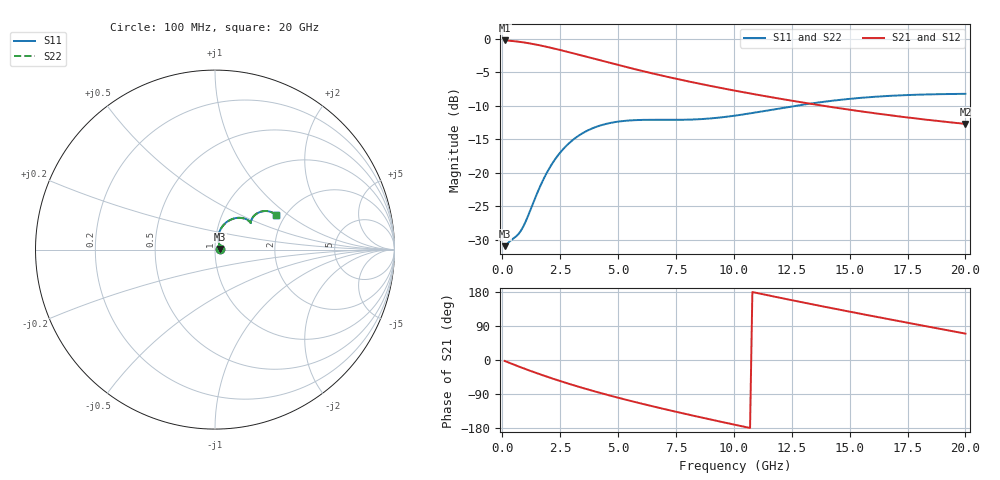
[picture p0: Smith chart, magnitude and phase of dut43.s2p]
! Touchstone file exported from HFSS 2024.1.0
!  File:  C:/UserFiles/LocalFiles/RDL_TSV_Batchsim/temp_RDL_TSV_43_1779405067.aedt
!  Generated:  07:27:13 AM May 22, 2026
!  Design:  RDL_TSV
!  Project:  temp_RDL_TSV_43_1779405067
!  Setup:  Setup1
!  Solution:  Sweep
! Variables:
!  dtsv = 12.88um
!  hbump = 3um
!  htsv = 74.79um
!  ldown = 583.4um
!  lrdl = 623.51um
!  p = 40
!  p1 = 46.31um
!  rhole = 10um
!  subl = 4244.24um
!  t = 450um
!  tdown = 3.32um
!  trdl = 2.85um
!  viad = 10um
!  wdown = 22.46um
!  wrdl = 15.29um
!  xbump = 18um
# GHz S MA R 50.000000
! Terminal data exported
! Port[1] = TM1_1_T1
! Port[2] = TM1_4_T1
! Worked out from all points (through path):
!   200 points, 100 MHz to 20 GHz, reference 50 ohm
!   highest |S21| = -0.25 dB at 100 MHz (marker M1); lowest = -12.7 dB at 20 GHz (marker M2)
!   group delay of S21, straight-line fit = 38.4 ps
!   lowest |S11| = -30.9 dB at 100 MHz (marker M3), VSWR 1.06, Z = 52.9 + j0.414 ohm
!   |S11| at or under -10 dB: start of sweep to 12.67 GHz
!   |S22| runs from -30.9 to -8.2 dB; largest |S21 - S12| = 9.9e-15
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0.1  0.02844 7.9  0.9713 -2.5  0.9713 -2.5  0.02844 7.9
! Gamma 0 0 0 0
! Port Impedance 50 0 50 0
0.4  0.03171 25.7  0.9636 -9.8  0.9636 -9.8  0.03172 25.7
0.8  0.03698 48.8  0.9462 -19.2  0.9462 -19.2  0.03698 48.6
1  0.04304 60.0  0.9351 -23.8  0.9351 -23.8  0.04301 59.8
1.3  0.05767 71.1  0.916 -30.6  0.916 -30.6  0.05755 71.0
1.8  0.09123 76.3  0.8797 -41.3  0.8797 -41.3  0.09097 76.2
2.2  0.1205 74.4  0.8484 -49.6  0.8484 -49.6  0.1202 74.3
2.6  0.1485 70.4  0.8164 -57.5  0.8164 -57.5  0.1481 70.3
3.5  0.1992 59.7  0.7449 -74.3  0.7449 -74.3  0.1986 59.6
4.3  0.2276 51.1  0.6853 -88.1  0.6853 -88.1  0.2267 51.1
5.1  0.2424 44.5  0.6313 -101.1  0.6313 -101.1  0.2415 44.4
5.9  0.2481 39.9  0.5832 -113.4  0.5832 -113.4  0.2471 39.9
6.8  0.2488 37.2  0.536 -126.7  0.536 -126.7  0.2478 37.2
7.6  0.2487 36.5  0.4992 -138.0  0.4992 -138.0  0.2477 36.6
8.4  0.2508 37.2  0.4668 -149.0  0.4668 -149.0  0.2499 37.3
10.1  0.268 39.8  0.4088 -171.6  0.4088 -171.6  0.2674 39.9
11.8  0.2989 40.9  0.362 166.6  0.362 166.6  0.2985 41.0
13.4  0.3303 39.6  0.3258 146.8  0.3258 146.8  0.3302 39.7
15  0.3564 37.1  0.2958 127.6  0.2958 127.6  0.3564 37.1
16.7  0.375 34.0  0.2696 107.6  0.2696 107.6  0.3752 34.0
18.3  0.3845 31.6  0.2495 89.1  0.2495 89.1  0.3848 31.5
20  0.3886 29.8  0.232 69.6  0.232 69.6  0.389 29.7
